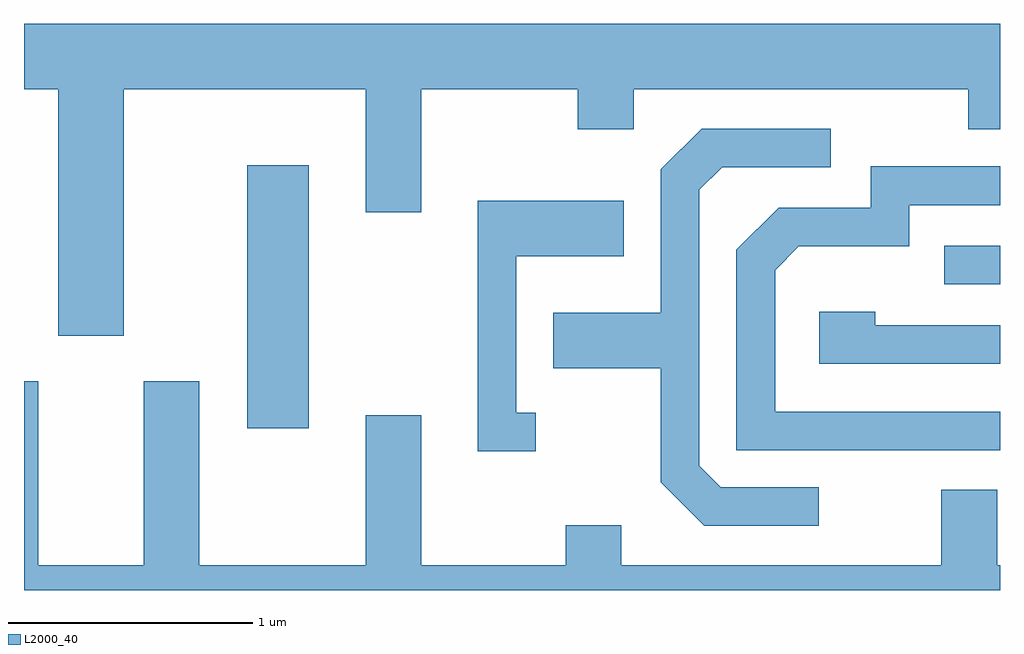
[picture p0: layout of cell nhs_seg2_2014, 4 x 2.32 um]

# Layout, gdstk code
import gdstk
lib = gdstk.Library(unit=1e-6, precision=1e-09)
def R(c, l, rs):  # rectangles x0, y0, x1, y1
    for r in rs: c.add(gdstk.rectangle(r[:2], r[2:], *l))
def P(c, l, *ps):  # polygons
    for p in ps: c.add(gdstk.Polygon(p, *l))
L2000_40 = (2000, 40)

nhs_seg2_2014 = lib.new_cell('nhs_seg2_2014')
R(nhs_seg2_2014, L2000_40, [(244.526,1062.466,244.779,1063.544), (247.383,1063.056,247.611,1063.214)])
P(nhs_seg2_2014, L2000_40, [(244.019,1063.856),(245.011,1063.856),(245.011,1063.351),(245.239,1063.351),(245.239,1063.856),(245.881,1063.856),(245.881,1063.691),(246.109,1063.691),(246.109,1063.856),(247.481,1063.856),(247.481,1063.691),(247.611,1063.691),(247.611,1064.124),(243.611,1064.124),(243.611,1063.856),(243.751,1063.856),(243.751,1062.846),(244.019,1062.846)],
  [(246.868,1062.224),(246.467,1062.224),(246.379,1062.312),(246.379,1063.444),(246.472,1063.536),(246.918,1063.536),(246.918,1063.694),(246.389,1063.694),(246.221,1063.527),(246.221,1062.939),(245.781,1062.939),(245.781,1062.711),(246.221,1062.711),(246.221,1062.244),(246.399,1062.066),(246.868,1062.066)],
  [(247.611,1062.534),(246.689,1062.534),(246.689,1063.114),(246.787,1063.211),(247.239,1063.211),(247.239,1063.381),(247.611,1063.381),(247.611,1063.539),(247.081,1063.539),(247.081,1063.369),(246.704,1063.369),(246.531,1063.197),(246.531,1062.376),(247.611,1062.376)],
  [(245.708,1062.529),(245.629,1062.529),(245.629,1063.171),(246.069,1063.171),(246.069,1063.399),(245.471,1063.399),(245.471,1062.371),(245.708,1062.371)],
  [(247.611,1062.889),(247.099,1062.889),(247.099,1062.944),(246.871,1062.944),(246.871,1062.731),(247.611,1062.731)],
  [(247.611,1061.904),(247.599,1061.904),(247.599,1062.214),(247.371,1062.214),(247.371,1061.904),(246.059,1061.904),(246.059,1062.069),(245.831,1062.069),(245.831,1061.904),(245.239,1061.904),(245.239,1062.519),(245.011,1062.519),(245.011,1061.904),(244.329,1061.904),(244.329,1062.659),(244.101,1062.659),(244.101,1061.904),(243.669,1061.904),(243.669,1062.659),(243.611,1062.659),(243.611,1061.802),(247.611,1061.802)])

lib.write_gds('nhs_seg2_2014.gds')
